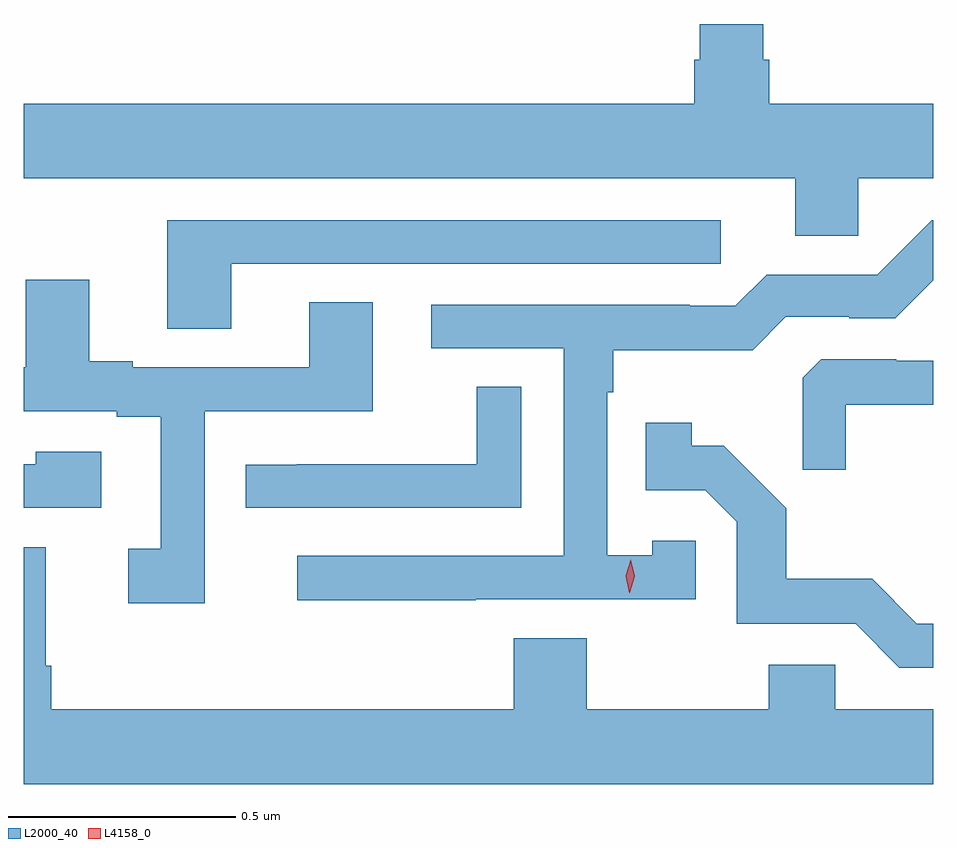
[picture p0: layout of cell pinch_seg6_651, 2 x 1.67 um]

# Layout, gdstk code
import gdstk
lib = gdstk.Library(unit=1e-6, precision=1e-09)
def P(c, l, *ps):  # polygons
    for p in ps: c.add(gdstk.Polygon(p, *l))
L2000_40 = (2000, 40)
L4158_0 = (4158, 0)

pinch_seg6_651 = lib.new_cell('pinch_seg6_651')
P(pinch_seg6_651, L2000_40, [(435.51,964.652),(435.675,964.652),(435.675,964.816),(435.314,964.816),(435.314,964.912),(435.301,964.912),(435.301,964.991),(435.161,964.991),(435.161,964.912),(435.149,964.912),(435.149,964.816),(433.675,964.816),(433.675,964.652),(435.371,964.652),(435.371,964.525),(435.51,964.525)],
  [(434.669,963.726),(435.153,963.726),(435.153,963.855),(435.057,963.855),(435.057,963.823),(434.958,963.823),(434.958,964.181),(434.971,964.181),(434.971,964.274),(435.278,964.274),(435.351,964.347),(435.49,964.347),(435.49,964.344),(435.591,964.344),(435.675,964.428),(435.675,964.56),(435.672,964.56),(435.552,964.44),(435.309,964.44),(435.24,964.371),(435.14,964.371),(435.14,964.374),(434.571,964.374),(434.571,964.278),(434.862,964.278),(434.862,963.822),(434.277,963.822),(434.277,963.724),(434.669,963.724)],
  [(434.131,964.464),(435.208,964.464),(435.208,964.56),(433.991,964.56),(433.991,964.321),(434.131,964.321)],
  [(434.073,964.14),(434.443,964.14),(434.443,964.379),(434.303,964.379),(434.303,964.236),(433.915,964.236),(433.915,964.249),(433.819,964.249),(433.819,964.429),(433.679,964.429),(433.679,964.236),(433.675,964.236),(433.675,964.14),(433.88,964.14),(433.88,964.128),(433.976,964.128),(433.976,963.837),(433.905,963.837),(433.905,963.717),(434.073,963.717)],
  [(435.482,964.154),(435.675,964.154),(435.675,964.251),(435.594,964.251),(435.594,964.254),(435.429,964.254),(435.388,964.213),(435.388,964.011),(435.482,964.011)],
  [(434.769,964.193),(434.671,964.193),(434.671,964.023),(434.275,964.023),(434.275,964.022),(434.163,964.022),(434.163,963.927),(434.769,963.927)],
  [(435.675,963.672),(435.639,963.672),(435.541,963.771),(435.352,963.771),(435.352,963.926),(435.214,964.064),(435.144,964.064),(435.144,964.114),(435.043,964.114),(435.043,963.966),(435.174,963.966),(435.243,963.897),(435.243,963.672),(435.504,963.672),(435.6,963.576),(435.675,963.576)],
  [(433.846,964.051),(433.701,964.051),(433.701,964.023),(433.675,964.023),(433.675,963.927),(433.846,963.927)],
  [(435.675,963.484),(435.459,963.484),(435.459,963.582),(435.313,963.582),(435.313,963.484),(434.913,963.484),(434.913,963.641),(434.753,963.641),(434.753,963.484),(433.736,963.484),(433.736,963.58),(433.723,963.58),(433.723,963.841),(433.675,963.841),(433.675,963.32),(435.675,963.32)])
P(pinch_seg6_651, L4158_0, [(435.007,963.741),(434.999,963.778),(435.01,963.813),(435.01,963.813),(435.01,963.813),(435.019,963.777),(435.008,963.741),(435.008,963.741)])

lib.write_gds('pinch_seg6_651.gds')
